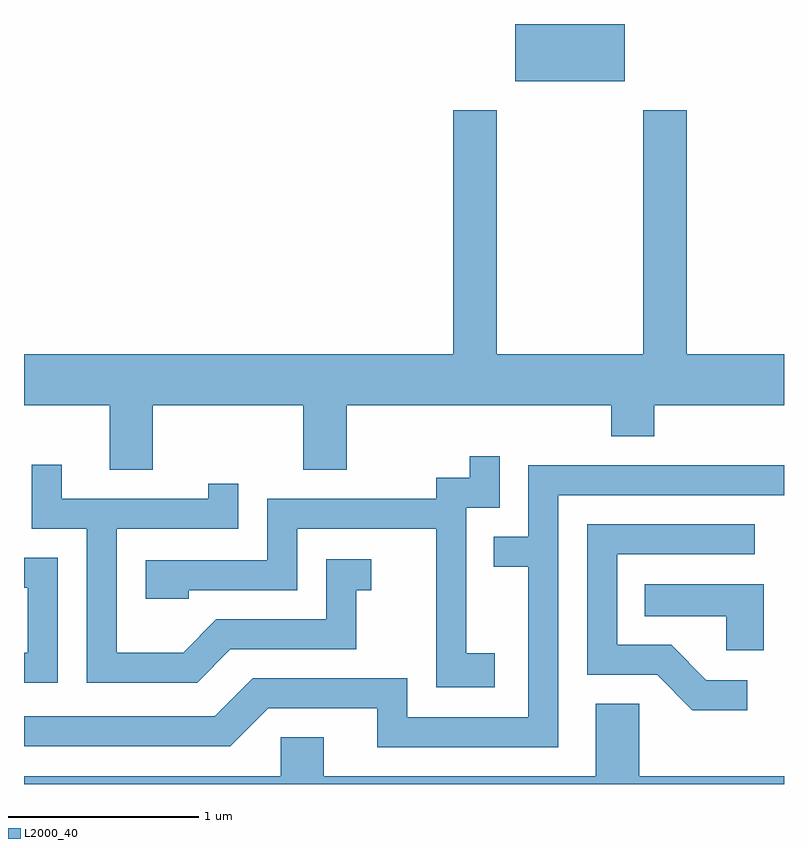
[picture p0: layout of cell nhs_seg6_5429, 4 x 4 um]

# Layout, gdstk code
import gdstk
lib = gdstk.Library(unit=1e-6, precision=1e-09)
def R(c, l, rs):  # rectangles x0, y0, x1, y1
    for r in rs: c.add(gdstk.rectangle(r[:2], r[2:], *l))
def P(c, l, *ps):  # polygons
    for p in ps: c.add(gdstk.Polygon(p, *l))
L2000_40 = (2000, 40)

nhs_seg6_5429 = lib.new_cell('nhs_seg6_5429')
R(nhs_seg6_5429, L2000_40, [(352.196,1653.861,352.774,1654.162)])
P(nhs_seg6_5429, L2000_40, [(350.289,1652.156),(351.081,1652.156),(351.081,1651.816),(351.309,1651.816),(351.309,1652.156),(352.701,1652.156),(352.701,1651.991),(352.929,1651.991),(352.929,1652.156),(353.611,1652.156),(353.611,1652.424),(353.099,1652.424),(353.099,1653.709),(352.871,1653.709),(352.871,1652.424),(352.099,1652.424),(352.099,1653.709),(351.871,1653.709),(351.871,1652.424),(349.611,1652.424),(349.611,1652.156),(350.061,1652.156),(350.061,1651.816),(350.289,1651.816)],
  [(352.089,1650.849),(351.939,1650.849),(351.939,1651.616),(352.114,1651.616),(352.114,1651.888),(351.956,1651.888),(351.956,1651.774),(351.781,1651.774),(351.781,1651.664),(350.891,1651.664),(350.891,1651.339),(350.251,1651.339),(350.251,1651.136),(350.479,1651.136),(350.479,1651.181),(351.049,1651.181),(351.049,1651.506),(351.781,1651.506),(351.781,1650.671),(352.089,1650.671)],
  [(350.697,1650.871),(351.359,1650.871),(351.359,1651.181),(351.438,1651.181),(351.438,1651.344),(351.201,1651.344),(351.201,1651.029),(350.624,1651.029),(350.449,1650.854),(350.099,1650.854),(350.099,1651.506),(350.739,1651.506),(350.739,1651.743),(350.581,1651.743),(350.581,1651.664),(349.809,1651.664),(349.809,1651.843),(349.651,1651.843),(349.651,1651.506),(349.941,1651.506),(349.941,1650.696),(350.522,1650.696)],
  [(352.424,1651.681),(353.611,1651.681),(353.611,1651.839),(352.266,1651.839),(352.266,1651.464),(352.083,1651.464),(352.083,1651.306),(352.266,1651.306),(352.266,1650.514),(351.629,1650.514),(351.629,1650.719),(350.814,1650.719),(350.614,1650.519),(349.611,1650.519),(349.611,1650.361),(350.697,1650.361),(350.897,1650.561),(351.471,1650.561),(351.471,1650.356),(352.424,1650.356)],
  [(353.418,1650.709),(353.202,1650.709),(353.017,1650.894),(352.734,1650.894),(352.734,1651.371),(353.458,1651.371),(353.458,1651.529),(352.576,1651.529),(352.576,1650.736),(352.944,1650.736),(353.129,1650.551),(353.418,1650.551)],
  [(349.789,1651.354),(349.611,1651.354),(349.611,1651.196),(349.631,1651.196),(349.631,1650.854),(349.611,1650.854),(349.611,1650.696),(349.789,1650.696)],
  [(353.504,1651.214),(352.878,1651.214),(352.878,1651.046),(353.306,1651.046),(353.306,1650.866),(353.504,1650.866)],
  [(353.611,1650.204),(352.849,1650.204),(352.849,1650.584),(352.621,1650.584),(352.621,1650.204),(351.189,1650.204),(351.189,1650.409),(350.961,1650.409),(350.961,1650.204),(349.611,1650.204),(349.611,1650.162),(353.611,1650.162)])

lib.write_gds('nhs_seg6_5429.gds')
